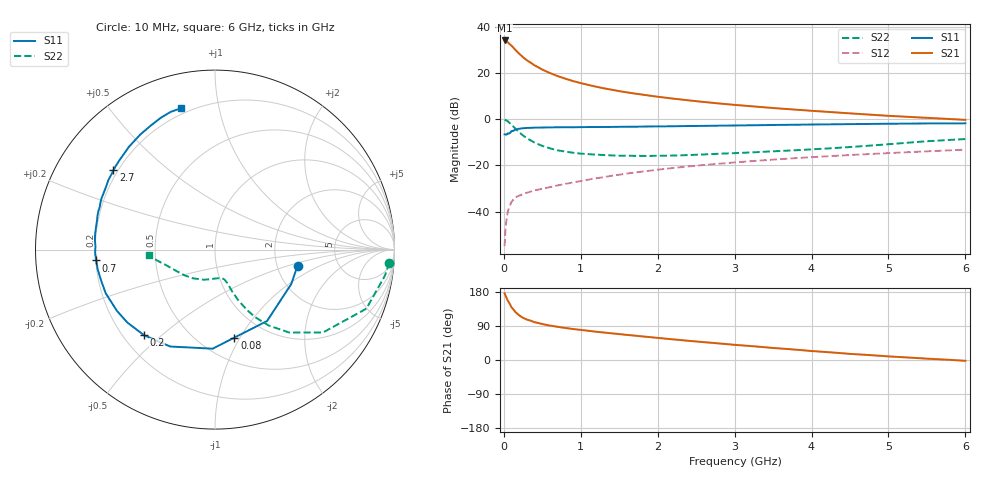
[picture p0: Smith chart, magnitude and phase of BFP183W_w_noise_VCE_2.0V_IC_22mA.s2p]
! Infineon Technologies  Discrete & RF Semiconductors
! BFP183W
! VCE =  2.0 V,  IC =  22 mA
! Common Emitter S-Parameters:  Jan 2017
# GHz  S  MA  R  50
!  f  S11  S21  S12  S22
! GHz  MAG  ANG  MAG  ANG  MAG  ANG  MAG  ANG
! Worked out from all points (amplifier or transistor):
!   77 points, 10 MHz to 6 GHz, reference 50 ohm
!   highest |S21| = 34.0 dB at 10 MHz (marker M1)
!   |S21| within 3 dB of that: start of sweep to 120.3 MHz
!   unconditionally stable (mu >= 1): 995.6 MHz to 3.757 GHz
!   at 130 MHz: K = 0.26, MSG = 32.6 dB, |S12| = -34.5 dB
!   at 2.2 GHz: K = 1.08, MAG = 13.3 dB, |S12| = -21.1 dB
!   at 6 GHz: K = 0.89, MSG = 6.4 dB, |S12| = -13.2 dB
!   lowest NFmin = 1.22 dB at 450 MHz
!   S11 on the Smith chart (normalised r, x): 10 MHz: 2.60, -0.60; 80 MHz: 0.72, -0.95; 200 MHz: 0.28, -0.44; 700 MHz: 0.20, -0.04; 2.7 GHz: 0.18, +0.33; 6 GHz: 0.17, +0.78
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0.01  0.4687 -11.1  49.97 176.0  0.0018 89.3  0.9741 -4.3
0.02  0.4661 -24.4  49.15 170.5  0.0038 80.9  0.9573 -8.8
0.05  0.4923 -53.9  46.03 157.1  0.0098 70.8  0.9053 -21.3
0.08  0.5021 -77.6  40.98 147.0  0.0137 62.6  0.8092 -30.3
0.1  0.5523 -91.4  38.47 138.9  0.0164 59.3  0.7586 -37.5
0.15  0.5951 -114.9  31.32 126.5  0.0205 50.7  0.6212 -48.1
0.2  0.6196 -129.7  25.79 117.7  0.0222 47.0  0.5182 -54.7
0.25  0.6352 -140.2  21.72 111.2  0.0241 44.0  0.4423 -59.0
0.3  0.6442 -148.0  18.62 106.6  0.0256 44.1  0.3846 -61.9
0.4  0.6558 -158.3  14.46 99.7  0.0289 45.7  0.3093 -65.4
0.5  0.6577 -165.2  11.73 94.8  0.0313 46.9  0.2638 -67.2
0.6  0.6627 -170.5  9.871 90.8  0.034 48.8  0.2337 -68.4
0.7  0.6651 -174.8  8.49 87.6  0.037 51.0  0.2117 -69.1
0.9  0.6662 178.3  6.63 81.8  0.0429 54.1  0.1875 -70.9
1.1  0.6734 173.0  5.46 77.1  0.0493 56.0  0.1749 -72.5
1.5  0.6813 163.9  4.022 68.4  0.0628 58.2  0.1621 -78.3
2.1  0.6972 152.1  2.904 56.4  0.0843 58.0  0.1621 -91.6
2.7  0.7177 142.0  2.258 45.4  0.1054 56.1  0.1754 -107.6
3.1  0.731 135.8  1.966 38.5  0.1193 54.0  0.1869 -118.1
4.1  0.7665 121.9  1.474 22.3  0.154 48.6  0.2268 -142.6
5.1  0.7965 111.3  1.154 8.4  0.1875 42.4  0.2953 -164.2
6  0.81 103.4  0.964 -2.1  0.219 36.3  0.3708 -175.0
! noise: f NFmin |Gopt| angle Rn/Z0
0.45  1.22  0.22  174  0.1
0.9  1.25  0.26  177  0.09
1.9  1.73  0.41  -161  0.09
2.4  1.96  0.46  -155  0.12
